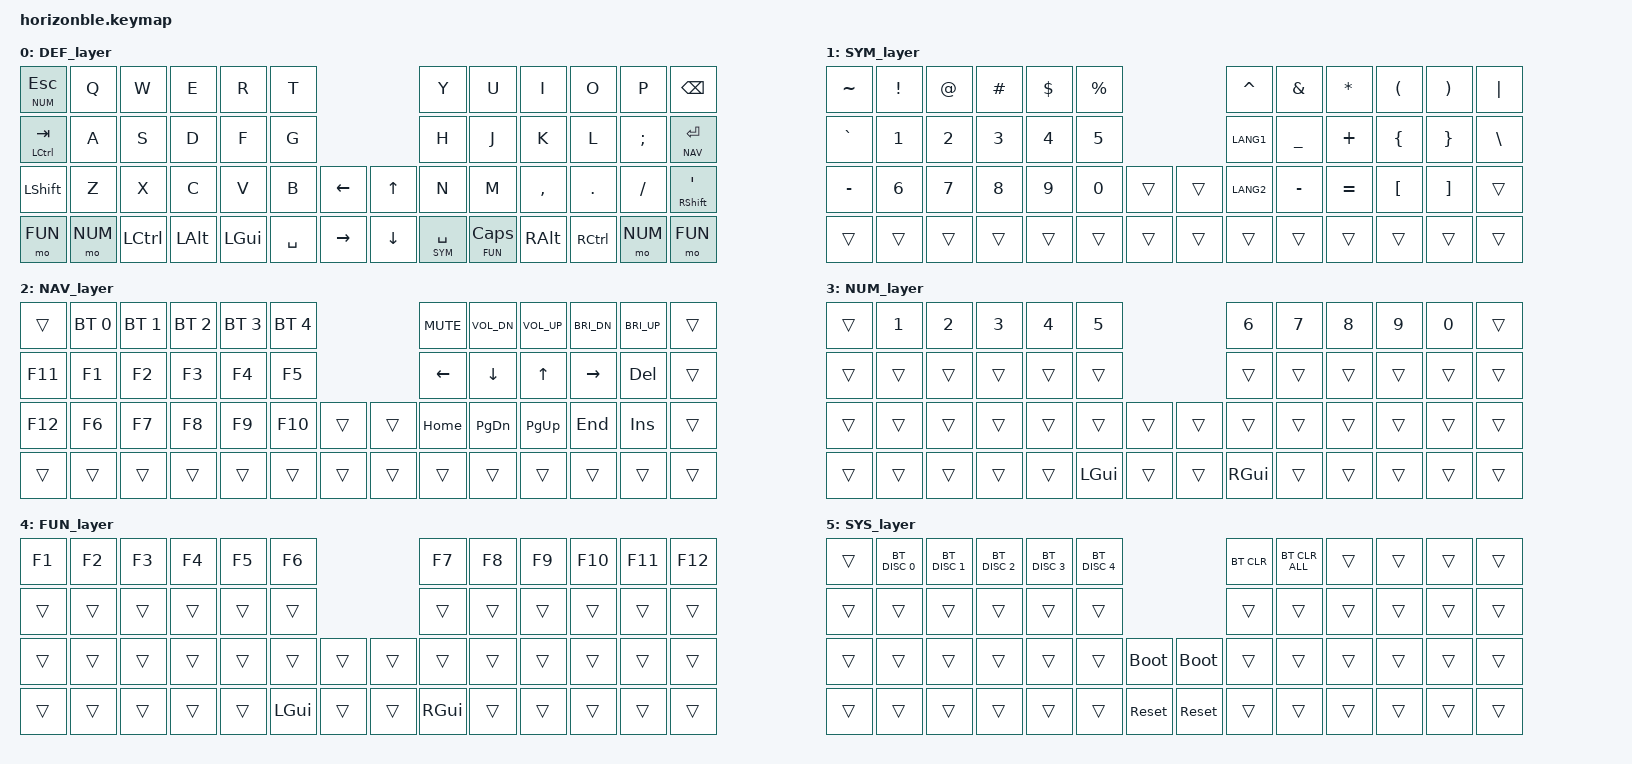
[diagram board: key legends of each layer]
/*
 * Copyright (c) 2021 The ZMK Contributors
 *
 * SPDX-License-Identifier: MIT
 */

#include <behaviors.dtsi>
#include <dt-bindings/zmk/bt.h>
#include <dt-bindings/zmk/keys.h>
#include <dt-bindings/zmk/outputs.h>

#define DEF 0
#define SYM 1
#define NAV 2
#define NUM 3
#define FUN 4
#define SYS 5

/ {
    conditional_layers {
        compatible = "zmk,conditional-layers";
        tri_layer {
            if-layers = <1 4>;
            then-layer = <5>;
        };
    };
};

/ {
    keymap {
        compatible = "zmk,keymap";

        DEF_layer {
            bindings = <
&lt NUM ESC     &kp Q      &kp W     &kp E     &kp R     &kp T                         &kp Y         &kp U          &kp I       &kp O      &kp P      &kp BSPC
&mt LCTRL TAB   &kp A      &kp S     &kp D     &kp F     &kp G                         &kp H         &kp J          &kp K       &kp L      &kp SEMI   &lt NAV RET
&kp LSHIFT      &kp Z      &kp X     &kp C     &kp V     &kp B    &kp LEFT  &kp UP     &kp N         &kp M          &kp COMMA   &kp DOT    &kp SLASH  &mt RSHFT SQT
&mo FUN         &mo NUM    &kp LCTRL &kp LALT  &kp LGUI  &kp SPC  &kp RIGHT &kp DOWN   &lt SYM SPC   &lt FUN CAPS   &kp RALT    &kp RCTRL  &mo NUM    &mo FUN
            >;
        };

        SYM_layer {
            bindings = <
&kp TILDE   &kp EXCL   &kp AT      &kp HASH   &kp DLLR   &kp PRCNT                    &kp CARET  &kp AMPS   &kp STAR  &kp LPAR  &kp RPAR  &kp PIPE
&kp GRAVE   &kp N1     &kp N2      &kp N3     &kp N4     &kp N5                       &kp LANG1  &kp UNDER  &kp PLUS  &kp LBRC  &kp RBRC  &kp BSLH
&kp MINUS   &kp N6     &kp N7      &kp N8     &kp N9     &kp N0     &trans   &trans   &kp LANG2  &kp MINUS  &kp EQUAL &kp LBKT  &kp RBKT  &trans
&trans      &trans     &trans      &trans     &trans     &trans     &trans   &trans   &trans     &trans     &trans    &trans    &trans    &trans
            >;
        };

        NAV_layer {
            bindings = <
&trans         &bt BT_SEL 0   &bt BT_SEL 1   &bt BT_SEL 2   &bt BT_SEL 3   &bt BT_SEL 4                        &kp C_MUTE   &kp C_VOL_DN  &kp C_VOL_UP  &kp C_BRI_DN  &kp C_BRI_UP    &trans
&kp F11        &kp F1         &kp F2         &kp F3         &kp F4         &kp F5                              &kp LEFT     &kp DOWN      &kp UP        &kp RIGHT      &kp DEL        &trans
&kp F12        &kp F6         &kp F7         &kp F8         &kp F9         &kp F10       &trans      &trans    &kp HOME     &kp PG_DN     &kp PG_UP     &kp END        &kp INS        &trans
&trans         &trans         &trans         &trans         &trans         &trans        &trans      &trans    &trans       &trans        &trans        &trans         &trans         &trans 
            >;
        };

        NUM_layer {
            bindings = <
&trans  &kp N1  &kp N2  &kp N3  &kp N4  &kp N5                    &kp N6    &kp N7  &kp N8  &kp N9  &kp N0  &trans
&trans  &trans  &trans  &trans  &trans  &trans                    &trans    &trans  &trans  &trans  &trans  &trans
&trans  &trans  &trans  &trans  &trans  &trans    &trans  &trans  &trans    &trans  &trans  &trans  &trans  &trans
&trans  &trans  &trans  &trans  &trans  &kp LGUI  &trans  &trans  &kp RGUI  &trans  &trans  &trans  &trans  &trans
            >;
        };

        FUN_layer {
            bindings = <
&kp F1  &kp F2  &kp F3  &kp F4  &kp F5  &kp F6                    &kp F7    &kp F8  &kp F9  &kp F10 &kp F11 &kp F12
&trans  &trans  &trans  &trans  &trans  &trans                    &trans    &trans  &trans  &trans  &trans  &trans
&trans  &trans  &trans  &trans  &trans  &trans    &trans  &trans  &trans    &trans  &trans  &trans  &trans  &trans
&trans  &trans  &trans  &trans  &trans  &kp LGUI  &trans  &trans  &kp RGUI  &trans  &trans  &trans  &trans  &trans
            >;
        };

        SYS_layer {
            bindings = <
&trans  &bt BT_DISC 0 &bt BT_DISC 1 &bt BT_DISC 2 &bt BT_DISC 3 &bt BT_DISC 4                              &bt BT_CLR  &bt BT_CLR_ALL  &trans  &trans  &trans  &trans
&trans  &trans        &trans        &trans        &trans        &trans                                     &trans      &trans          &trans  &trans  &trans  &trans
&trans  &trans        &trans        &trans        &trans        &trans        &bootloader  &bootloader     &trans      &trans          &trans  &trans  &trans  &trans
&trans  &trans        &trans        &trans        &trans        &trans        &sys_reset   &sys_reset      &trans      &trans          &trans  &trans  &trans  &trans
            >;
        };
    };
};
